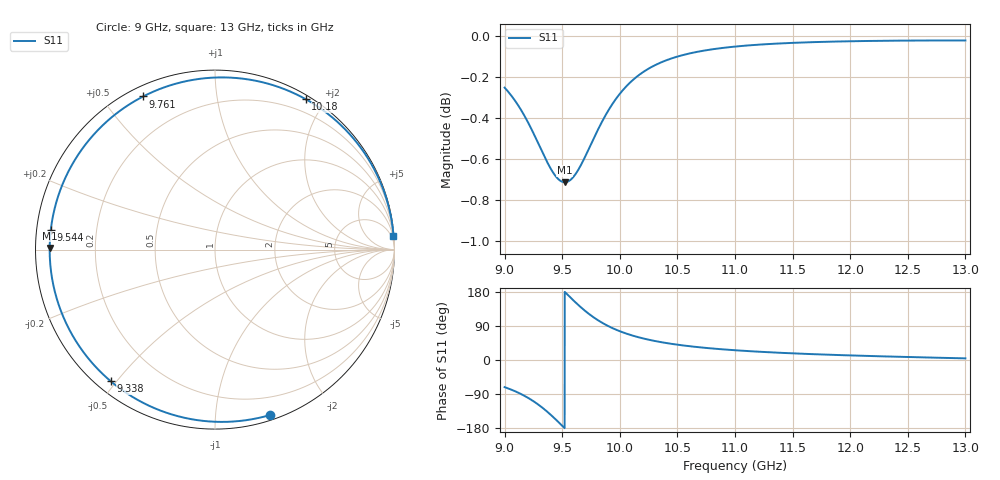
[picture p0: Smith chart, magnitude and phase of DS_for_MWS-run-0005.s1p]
! TOUCHSTONE file generated by CST DESIGN STUDIO
! Date and time: Wed Feb  5 13:46:35 2025
! Project name: C:\Work\MatlabApps\UnitCellOptimizationMatlab\CST\unitcell.cst
! Tree item: Tasks\Sweep1\SPara1\S-Parameters
! Header version: 2024
! Port assignment regex: !\s*Touchstone port\s*([0-9]+)\s*=\s*(CST MWS port|CST DES external port|CST DES block port)\s*(.+)\s* \(\"(.*)\"\)(\s*mode\s*([0-9]+))?.*
! Touchstone port assignment:
! Touchstone port 1 = CST DES external port 1 ("")
# GHz S MA R 50
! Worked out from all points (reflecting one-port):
!   4001 points, 9 GHz to 13 GHz, reference 50 ohm
!   lowest |S11| = -0.7 dB at 9.523 GHz (marker M1), VSWR 24.40, Z = 2.05 + j0.229 ohm
!   phase of S11 starts at -72 deg and turns -284 deg over the sweep
!   S11 on the Smith chart (normalised r, x): 9 GHz: 0.04, -1.39; 9.338 GHz: 0.04, -0.48; 9.544 GHz: 0.04, +0.06; 9.761 GHz: 0.04, +0.64; 10.18 GHz: 0.04, +1.77; 13 GHz: 1, +26
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9  0.9713 -71.6
9.092  0.9641 -82.6
9.197  0.9534 -98.8
9.271  0.9443 -113.0
9.338  0.9356 -128.3
9.382  0.9303 -139.6
9.428  0.9256 -152.3
9.465  0.9229 -163.1
9.5  0.9215 -173.6
9.523  0.9212 179.5
9.544  0.9215 173.1
9.598  0.9241 157.1
9.658  0.9297 140.2
9.709  0.9358 127.1
9.761  0.9425 115.1
9.811  0.9488 104.8
9.865  0.9552 95.1
10  0.968 75.9
10.085  0.9739 66.8
10.177  0.9787 58.9
10.324  0.9842 49.0
10.5  0.9884 40.4
10.721  0.9916 32.7
11  0.9939 25.7
11.5  0.996 17.6
12  0.9969 12.1
12.5  0.9973 7.9
13  0.9973 4.3
